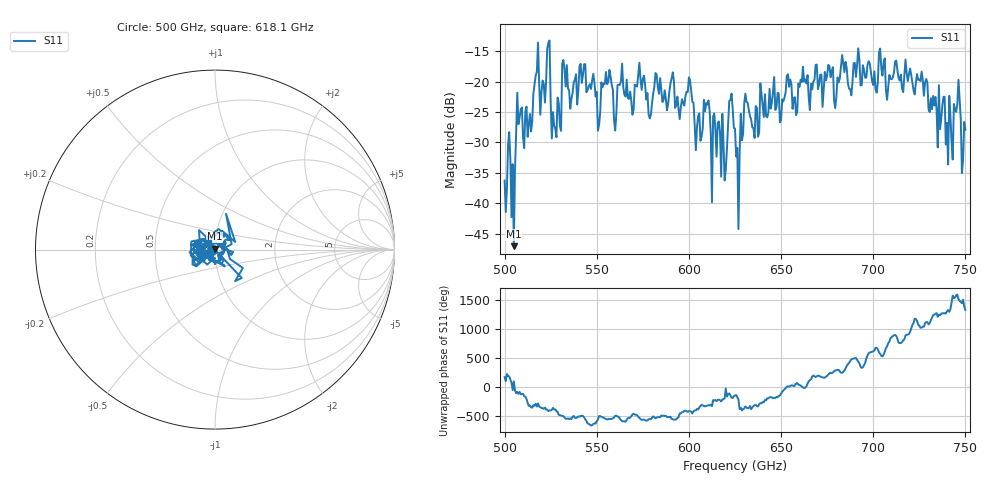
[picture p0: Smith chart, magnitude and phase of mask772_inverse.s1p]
!Created with skrf (http://scikit-rf.org).
# GHz S MA R 50.0
!freq magS11 angS11
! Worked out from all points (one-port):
!   401 points, 500 GHz to 750 GHz, reference 50 ohm
!   lowest |S11| = -47.0 dB at 505 GHz (marker M1), VSWR 1.01, Z = 50 + j0.444 ohm
!   |S11| at or under -10 dB: start of sweep to end of sweep
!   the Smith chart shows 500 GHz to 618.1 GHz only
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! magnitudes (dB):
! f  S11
! 500 GHz  -36.3
! 505 GHz  -47.0
! 507.5 GHz  -27.0
! 513.8 GHz  -25.3
! 516.9 GHz  -19.0
! 520.6 GHz  -19.8
! 523.8 GHz  -13.6
! 526.9 GHz  -27.2
! 531.2 GHz  -17.1
! 542.5 GHz  -18.9
! 550.6 GHz  -28.1
! 562.5 GHz  -20.6
! 593.8 GHz  -22.5
! 600 GHz  -19.3
! 605 GHz  -25.7
! 609.4 GHz  -23.5
! 618.8 GHz  -30.1
! 622.5 GHz  -23.1
! 625 GHz  -27.7
! 626.2 GHz  -30.9
! 631.2 GHz  -23.3
! 634.4 GHz  -27.5
! 656.2 GHz  -24.5
! 680 GHz  -22.5
! 683.8 GHz  -17.0
! 687.5 GHz  -21.2
! 718.8 GHz  -19.9
! 750 GHz  -27.9
